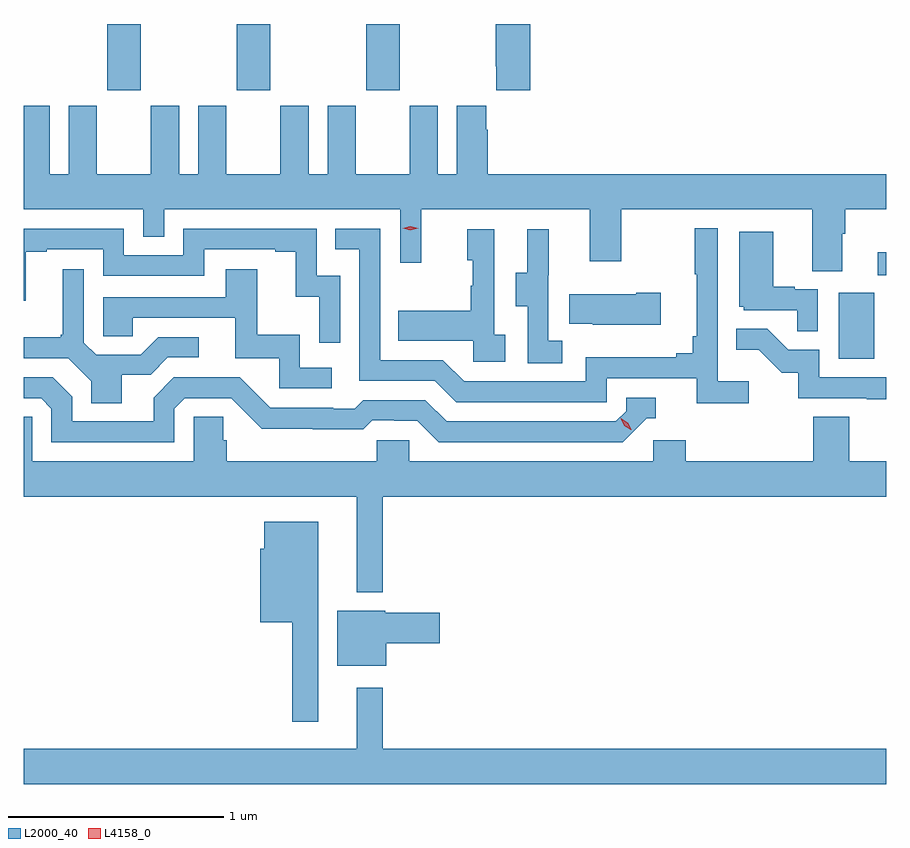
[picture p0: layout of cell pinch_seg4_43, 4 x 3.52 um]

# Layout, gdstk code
import gdstk
lib = gdstk.Library(unit=1e-6, precision=1e-09)
def R(c, l, rs):  # rectangles x0, y0, x1, y1
    for r in rs: c.add(gdstk.rectangle(r[:2], r[2:], *l))
def A(c, l, x, y, w, h, nx, ny, dx, dy):  # array of equal rectangles
    R(c, l, [(x+i*dx, y+j*dy, x+i*dx+w, y+j*dy+h) for i in range(nx) for j in range(ny)])
def P(c, l, *ps):  # polygons
    for p in ps: c.add(gdstk.Polygon(p, *l))
L2000_40 = (2000, 40)
L4158_0 = (4158, 0)

pinch_seg4_43 = lib.new_cell('pinch_seg4_43')
A(pinch_seg4_43, L2000_40, 1137.439, 830.673, 0.155, 0.307, 3, 1, 0.6, 0)
R(pinch_seg4_43, L2000_40, [(1140.83,829.428,1140.994,829.735), (1141.011,829.815,1141.051,829.921)])
P(pinch_seg4_43, L2000_40, [(1139.399,830.98),(1139.239,830.98),(1139.239,830.785),(1139.243,830.785),(1139.243,830.673),(1139.399,830.673)],
  [(1140.847,830.008),(1140.86,830.008),(1140.86,830.12),(1141.051,830.12),(1141.051,830.284),(1139.204,830.284),(1139.204,830.489),(1139.197,830.489),(1139.197,830.602),(1139.06,830.602),(1139.06,830.284),(1138.972,830.284),(1138.972,830.602),(1138.841,830.602),(1138.841,830.284),(1138.591,830.284),(1138.591,830.602),(1138.46,830.602),(1138.46,830.284),(1138.372,830.284),(1138.372,830.602),(1138.241,830.602),(1138.241,830.284),(1137.991,830.284),(1137.991,830.602),(1137.86,830.602),(1137.86,830.284),(1137.772,830.284),(1137.772,830.602),(1137.641,830.602),(1137.641,830.284),(1137.391,830.284),(1137.391,830.602),(1137.26,830.602),(1137.26,830.284),(1137.172,830.284),(1137.172,830.602),(1137.051,830.602),(1137.051,830.12),(1137.606,830.12),(1137.606,829.993),(1137.702,829.993),(1137.702,830.12),(1138.797,830.12),(1138.797,829.872),(1138.895,829.872),(1138.895,830.12),(1139.675,830.12),(1139.675,829.881),(1139.823,829.881),(1139.823,830.12),(1140.707,830.12),(1140.707,829.834),(1140.847,829.834)],
  [(1140.412,829.324),(1140.27,829.324),(1140.27,830.032),(1140.162,830.032),(1140.162,829.819),(1140.173,829.819),(1140.173,829.531),(1140.154,829.531),(1140.154,829.454),(1140.077,829.454),(1140.077,829.435),(1139.658,829.435),(1139.658,829.323),(1139.094,829.323),(1138.995,829.422),(1138.704,829.422),(1138.704,830.031),(1138.495,830.031),(1138.495,829.935),(1138.608,829.935),(1138.608,829.326),(1138.958,829.326),(1139.057,829.227),(1139.754,829.227),(1139.754,829.338),(1140.173,829.338),(1140.173,829.222),(1140.412,829.222)],
  [(1138.518,829.812),(1138.41,829.812),(1138.41,830.031),(1137.792,830.031),(1137.792,829.908),(1137.516,829.908),(1137.516,830.031),(1137.051,830.031),(1137.051,829.697),(1137.061,829.697),(1137.061,829.923),(1137.157,829.923),(1137.157,829.935),(1137.42,829.935),(1137.42,829.812),(1137.888,829.812),(1137.888,829.935),(1138.217,829.935),(1138.217,829.923),(1138.313,829.923),(1138.313,829.715),(1138.422,829.715),(1138.422,829.503),(1138.518,829.503)],
  [(1139.284,829.538),(1139.232,829.538),(1139.232,830.029),(1139.108,830.029),(1139.108,829.884),(1139.134,829.884),(1139.134,829.766),(1139.124,829.766),(1139.124,829.651),(1138.789,829.651),(1138.789,829.511),(1139.136,829.511),(1139.136,829.413),(1139.284,829.413)],
  [(1139.548,829.511),(1139.484,829.511),(1139.484,829.815),(1139.486,829.815),(1139.486,830.029),(1139.387,830.029),(1139.387,829.827),(1139.333,829.827),(1139.333,829.672),(1139.388,829.672),(1139.388,829.408),(1139.548,829.408)],
  [(1140.732,829.749),(1140.626,829.749),(1140.626,829.762),(1140.526,829.762),(1140.526,830.017),(1140.368,830.017),(1140.368,829.668),(1140.39,829.668),(1140.39,829.653),(1140.637,829.653),(1140.637,829.555),(1140.732,829.555)],
  [(1137.505,829.354),(1137.64,829.354),(1137.72,829.434),(1137.862,829.434),(1137.862,829.527),(1137.674,829.527),(1137.593,829.446),(1137.387,829.446),(1137.33,829.503),(1137.33,829.843),(1137.233,829.843),(1137.233,829.54),(1137.222,829.54),(1137.222,829.528),(1137.051,829.528),(1137.051,829.431),(1137.258,829.431),(1137.365,829.324),(1137.365,829.222),(1137.505,829.222)],
  [(1138.48,829.386),(1138.332,829.386),(1138.332,829.54),(1138.133,829.54),(1138.133,829.843),(1137.989,829.843),(1137.989,829.713),(1137.42,829.713),(1137.42,829.533),(1137.557,829.533),(1137.557,829.617),(1138.031,829.617),(1138.031,829.431),(1138.236,829.431),(1138.236,829.29),(1138.48,829.29)],
  [(1140.004,829.734),(1139.891,829.734),(1139.891,829.726),(1139.581,829.726),(1139.581,829.589),(1139.689,829.589),(1139.689,829.586),(1140.004,829.586)],
  [(1141.051,829.341),(1140.741,829.341),(1140.741,829.47),(1140.597,829.47),(1140.499,829.568),(1140.355,829.568),(1140.355,829.469),(1140.459,829.469),(1140.566,829.362),(1140.643,829.362),(1140.643,829.245),(1140.961,829.245),(1140.961,829.24),(1141.051,829.24)],
  [(1137.75,829.197),(1137.798,829.245),(1138.014,829.245),(1138.156,829.103),(1138.392,829.103),(1138.392,829.101),(1138.625,829.101),(1138.667,829.143),(1138.77,829.143),(1138.77,829.14),(1138.877,829.14),(1138.976,829.041),(1139.829,829.041),(1139.94,829.152),(1139.983,829.152),(1139.983,829.248),(1139.844,829.248),(1139.844,829.185),(1139.796,829.137),(1139.013,829.137),(1138.914,829.236),(1138.625,829.236),(1138.586,829.197),(1138.487,829.197),(1138.487,829.2),(1138.194,829.2),(1138.053,829.341),(1137.747,829.341),(1137.653,829.247),(1137.653,829.137),(1137.276,829.137),(1137.276,829.251),(1137.186,829.341),(1137.051,829.341),(1137.051,829.245),(1137.132,829.245),(1137.18,829.197),(1137.18,829.041),(1137.75,829.041)],
  [(1138.717,828.788),(1141.051,828.788),(1141.051,828.952),(1140.878,828.952),(1140.878,829.16),(1140.713,829.16),(1140.713,828.952),(1140.122,828.952),(1140.122,829.05),(1139.97,829.05),(1139.97,828.952),(1138.839,828.952),(1138.839,829.05),(1138.689,829.05),(1138.689,828.952),(1137.992,828.952),(1137.992,829.05),(1137.977,829.05),(1137.977,829.16),(1137.84,829.16),(1137.84,828.952),(1137.09,828.952),(1137.09,829.16),(1137.051,829.16),(1137.051,828.788),(1138.595,828.788),(1138.595,828.344),(1138.717,828.344)],
  [(1138.417,828.673),(1138.166,828.673),(1138.166,828.546),(1138.148,828.546),(1138.148,828.206),(1138.296,828.206),(1138.296,827.745),(1138.417,827.745)],
  [(1138.732,828.109),(1138.981,828.109),(1138.981,828.251),(1138.728,828.251),(1138.728,828.259),(1138.505,828.259),(1138.505,828.005),(1138.732,828.005)],
  [(1141.051,827.62),(1138.717,827.62),(1138.717,827.902),(1138.595,827.902),(1138.595,827.62),(1137.051,827.62),(1137.051,827.456),(1141.051,827.456)])
P(pinch_seg4_43, L4158_0, [(1138.844,830.023),(1138.809,830.033),(1138.809,830.033),(1138.809,830.034),(1138.844,830.043),(1138.88,830.034),(1138.88,830.033),(1138.88,830.033)],
  [(1139.867,829.099),(1139.836,829.118),(1139.82,829.151),(1139.82,829.151),(1139.82,829.151),(1139.851,829.132),(1139.868,829.1),(1139.868,829.099)])

lib.write_gds('pinch_seg4_43.gds')
